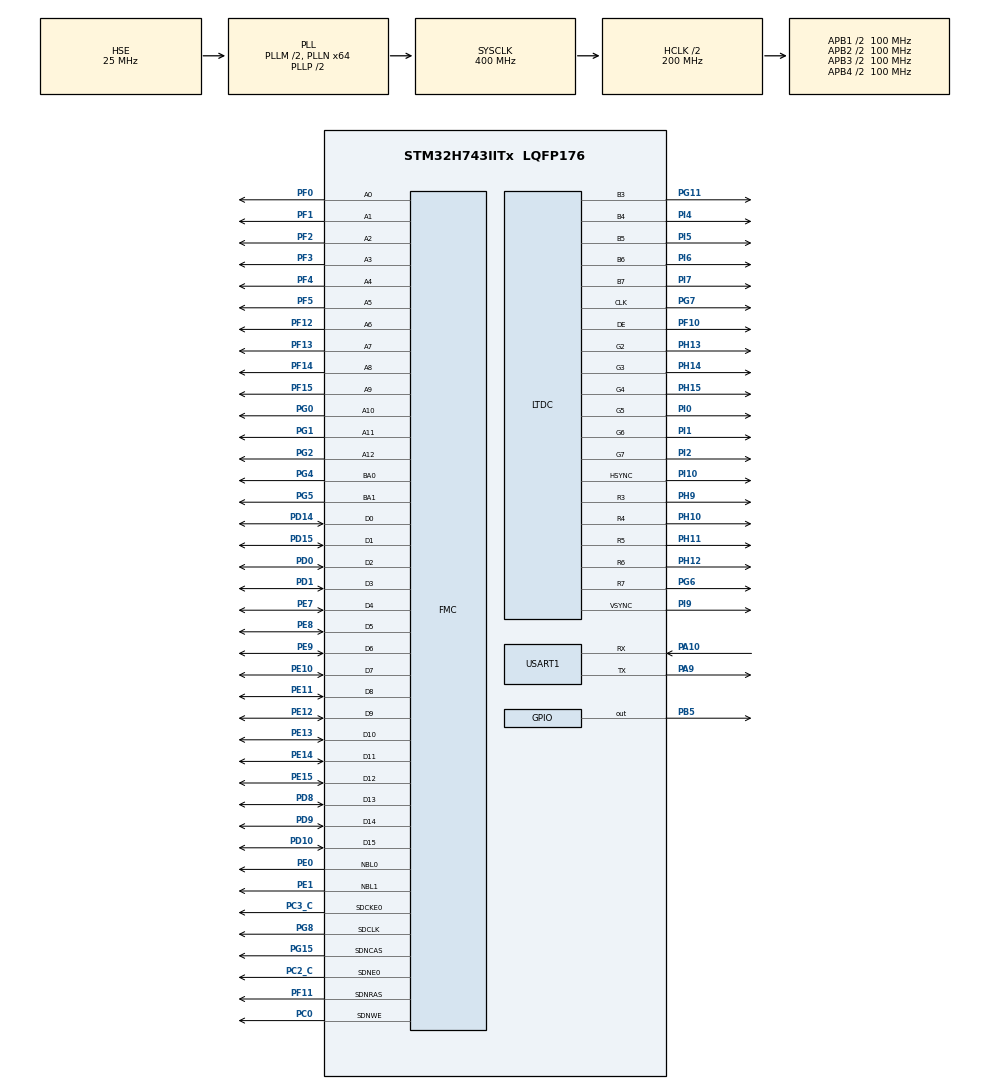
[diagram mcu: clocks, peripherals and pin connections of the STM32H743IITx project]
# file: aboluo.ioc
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CORTEX_M7.default_mode_Activation=1
FMC.BankMapConfig=FMC_SWAPBMAP_DISABLE
FMC.CASLatency1=FMC_SDRAM_CAS_LATENCY_3
FMC.ColumnBitsNumber1=FMC_SDRAM_COLUMN_BITS_NUM_9
FMC.ReadBurst1=FMC_SDRAM_RBURST_ENABLE
FMC.ReadBurst2=FMC_SDRAM_RBURST_ENABLE
FMC.ReadPipeDelay1=FMC_SDRAM_RPIPE_DELAY_1
FMC.ReadPipeDelay2=FMC_SDRAM_RPIPE_DELAY_1
FMC.SDClockPeriod1=FMC_SDRAM_CLOCK_PERIOD_2
FMC.SDClockPeriod2=FMC_SDRAM_CLOCK_PERIOD_2
LTDC.ActiveH=272
LTDC.ActiveW=480
LTDC.DEPolarity=LTDC_DEPOLARITY_AH
LTDC.FBStartAdress_L0=0x24000000
LTDC.HBP=43
LTDC.HFP=8
LTDC.HSync=4
LTDC.ImageHeight_L0=160
LTDC.ImageWidth_L0=240
LTDC.Layers=0
LTDC.PCPolarity=LTDC_PCPOLARITY_IPC
LTDC.PixelFormat_L0=LTDC_PIXEL_FORMAT_RGB565
LTDC.VBP=12
LTDC.VFP=8
Mcu.Family=STM32H7
Mcu.Name=STM32H743IITx
Mcu.Package=LQFP176
NVIC.PriorityGroup=NVIC_PRIORITYGROUP_4
PA10.Mode=Asynchronous
PA10.Signal=USART1_RX
PA9.Mode=Asynchronous
PA9.Signal=USART1_TX
PB5.Signal=GPIO_Output
PC0.Signal=FMC_SDNWE
PC2_C.Mode=SdramChipSelect1_1
PC2_C.Signal=FMC_SDNE0
PC3_C.Mode=SdramChipSelect1_1
PC3_C.Signal=FMC_SDCKE0
PD0.Signal=FMC_D2_DA2
PD1.Signal=FMC_D3_DA3
PD10.Signal=FMC_D15_DA15
PD14.Signal=FMC_D0_DA0
PD15.Signal=FMC_D1_DA1
PD8.Signal=FMC_D13_DA13
PD9.Signal=FMC_D14_DA14
PE0.Signal=FMC_NBL0
PE1.Signal=FMC_NBL1
PE10.Signal=FMC_D7_DA7
PE11.Signal=FMC_D8_DA8
PE12.Signal=FMC_D9_DA9
PE13.Signal=FMC_D10_DA10
PE14.Signal=FMC_D11_DA11
PE15.Signal=FMC_D12_DA12
PE7.Signal=FMC_D4_DA4
PE8.Signal=FMC_D5_DA5
PE9.Signal=FMC_D6_DA6
PF0.Signal=FMC_A0
PF1.Signal=FMC_A1
PF10.Mode=RGB565
PF10.Signal=LTDC_DE
PF11.Signal=FMC_SDNRAS
PF12.Signal=FMC_A6
PF13.Signal=FMC_A7
PF14.Signal=FMC_A8
PF15.Signal=FMC_A9
PF2.Signal=FMC_A2
PF3.Signal=FMC_A3
PF4.Signal=FMC_A4
PF5.Signal=FMC_A5
PG0.Signal=FMC_A10
PG1.Signal=FMC_A11
PG11.Mode=RGB565
PG11.Signal=LTDC_B3
PG15.Signal=FMC_SDNCAS
PG2.Signal=FMC_A12
PG4.Signal=FMC_A14_BA0
PG5.Signal=FMC_A15_BA1
PG6.Mode=RGB565
PG6.Signal=LTDC_R7
PG7.Mode=RGB565
PG7.Signal=LTDC_CLK
PG8.Signal=FMC_SDCLK
PH0-OSC_IN\ (PH0).Mode=HSE-External-Oscillator
PH0-OSC_IN\ (PH0).Signal=RCC_OSC_IN
PH1-OSC_OUT\ (PH1).Mode=HSE-External-Oscillator
PH1-OSC_OUT\ (PH1).Signal=RCC_OSC_OUT
PH10.Mode=RGB565
PH10.Signal=LTDC_R4
PH11.Mode=RGB565
PH11.Signal=LTDC_R5
PH12.Mode=RGB565
PH12.Signal=LTDC_R6
PH13.Mode=RGB565
PH13.Signal=LTDC_G2
PH14.Mode=RGB565
PH14.Signal=LTDC_G3
PH15.Mode=RGB565
PH15.Signal=LTDC_G4
PH9.Mode=RGB565
PH9.Signal=LTDC_R3
PI0.Mode=RGB565
PI0.Signal=LTDC_G5
PI1.Mode=RGB565
PI1.Signal=LTDC_G6
PI10.Mode=RGB565
PI10.Signal=LTDC_HSYNC
PI2.Mode=RGB565
PI2.Signal=LTDC_G7
PI4.Mode=RGB565
PI4.Signal=LTDC_B4
PI5.Mode=RGB565
PI5.Signal=LTDC_B5
PI6.Mode=RGB565
PI6.Signal=LTDC_B6
PI7.Mode=RGB565
PI7.Signal=LTDC_B7
PI9.Mode=RGB565
PI9.Signal=LTDC_VSYNC
ProjectManager.HeapSize=0x200
ProjectManager.StackSize=0x400
ProjectManager.TargetToolchain=STM32CubeIDE
RCC.ADCFreq_Value=50390625
RCC.APB1Freq_Value=100000000
RCC.APB2Freq_Value=100000000
RCC.APB3Freq_Value=100000000
RCC.APB4Freq_Value=100000000
RCC.CortexFreq_Value=400000000
RCC.D1PPRE=RCC_APB3_DIV2
RCC.D2PPRE1=RCC_APB1_DIV2
RCC.D2PPRE2=RCC_APB2_DIV2
RCC.D3PPRE=RCC_APB4_DIV2
RCC.DIVM1=2
RCC.DIVM3=25
RCC.DIVN1=64
RCC.DIVN3=160
RCC.DIVR3=16
RCC.HCLKFreq_Value=200000000
RCC.HPRE=RCC_HCLK_DIV2
RCC.HSE_VALUE=25000000
RCC.PLL2FRACN=0
RCC.PLL3FRACN=0
RCC.PLLFRACN=0
RCC.PLLSourceVirtual=RCC_PLLSOURCE_HSE
RCC.SYSCLKFreq_VALUE=400000000
RCC.SYSCLKSource=RCC_SYSCLKSOURCE_PLLCLK
RCC.USBFreq_Value=400000000
SH.FMC_A0.0=FMC_A0,13b-sda1
SH.FMC_A1.0=FMC_A1,13b-sda1
SH.FMC_A10.0=FMC_A10,13b-sda1
SH.FMC_A11.0=FMC_A11,13b-sda1
SH.FMC_A12.0=FMC_A12,13b-sda1
SH.FMC_A14_BA0.0=FMC_BA0,FourSdramBanks1
SH.FMC_A15_BA1.0=FMC_BA1,FourSdramBanks1
SH.FMC_A2.0=FMC_A2,13b-sda1
SH.FMC_A3.0=FMC_A3,13b-sda1
SH.FMC_A4.0=FMC_A4,13b-sda1
SH.FMC_A5.0=FMC_A5,13b-sda1
SH.FMC_A6.0=FMC_A6,13b-sda1
SH.FMC_A7.0=FMC_A7,13b-sda1
SH.FMC_A8.0=FMC_A8,13b-sda1
SH.FMC_A9.0=FMC_A9,13b-sda1
SH.FMC_D0_DA0.0=FMC_D0,sd-16b-d1
SH.FMC_D10_DA10.0=FMC_D10,sd-16b-d1
SH.FMC_D11_DA11.0=FMC_D11,sd-16b-d1
SH.FMC_D12_DA12.0=FMC_D12,sd-16b-d1
SH.FMC_D13_DA13.0=FMC_D13,sd-16b-d1
SH.FMC_D14_DA14.0=FMC_D14,sd-16b-d1
SH.FMC_D15_DA15.0=FMC_D15,sd-16b-d1
SH.FMC_D1_DA1.0=FMC_D1,sd-16b-d1
SH.FMC_D2_DA2.0=FMC_D2,sd-16b-d1
SH.FMC_D3_DA3.0=FMC_D3,sd-16b-d1
SH.FMC_D4_DA4.0=FMC_D4,sd-16b-d1
SH.FMC_D5_DA5.0=FMC_D5,sd-16b-d1
SH.FMC_D6_DA6.0=FMC_D6,sd-16b-d1
SH.FMC_D7_DA7.0=FMC_D7,sd-16b-d1
SH.FMC_D8_DA8.0=FMC_D8,sd-16b-d1
SH.FMC_D9_DA9.0=FMC_D9,sd-16b-d1
SH.FMC_NBL0.0=FMC_NBL0,Sd2ByteEnable1
SH.FMC_NBL1.0=FMC_NBL1,Sd2ByteEnable1
SH.FMC_SDCLK.0=FMC_SDCLK,13b-sda1
SH.FMC_SDNCAS.0=FMC_SDNCAS,13b-sda1
SH.FMC_SDNRAS.0=FMC_SDNRAS,13b-sda1
SH.FMC_SDNWE.0=FMC_SDNWE,13b-sda1
USART1.VirtualMode-Asynchronous=VM_ASYNC
VP_MEMORYMAP_VS_MEMORYMAP.Mode=CurAppReg
board=custom

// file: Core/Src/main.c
/* USER CODE BEGIN Header */
/**
  ******************************************************************************
  * @file           : main.c
  * @brief          : Main program body
  ******************************************************************************
  * @attention
  *
  * Copyright (c) 2025 STMicroelectronics.
  * All rights reserved.
  *
  * This software is licensed under terms that can be found in the LICENSE file
  * in the root directory of this software component.
  * If no LICENSE file comes with this software, it is provided AS-IS.
  *
  ******************************************************************************
  */
/* USER CODE END Header */
#include "main.h"
#include "ltdc.h"
#include "usart.h"
#include "gpio.h"
#include "fmc.h"
#include "bsp_fmc_sdram.h"

/* USER CODE BEGIN Includes */
#include <stdio.h>
#include <string.h>

/* FMC寄存器直接访问 */
#define FMC_Bank5_6         ((FMC_Bank5_6_TypeDef *)FMC_Bank5_6_R_BASE)

/* USER CODE END Includes */

void SystemClock_Config(void);
static void MPU_Config(void);
/* USER CODE BEGIN PFP */
extern void MX_FMC_Init(void);  // 临时声明，用于A/B测试
/* USER CODE END PFP */

/* USER CODE BEGIN 0 */
#include <stdint.h>

#if 0  /* 未使用的颜色定义和Cache函数 */
#define RGB565(r,g,b) ( (uint16_t)((((r)&0xF8)<<8)|(((g)&0xFC)<<3)|((b)>>3)) )

static const uint16_t kColorBars[8] = {
  RGB565(255,0,0), RGB565(255,128,0), RGB565(255,255,0), RGB565(0,255,0),
  RGB565(0,255,255), RGB565(0,0,255), RGB565(128,0,255), RGB565(255,255,255)
};

static void dcache_clean_region(void *addr, size_t len){
  uintptr_t a = ((uintptr_t)addr) & ~31UL;
  size_t    s = ((uintptr_t)addr + len - a + 31UL) & ~31UL;
  SCB_CleanDCache_by_Addr((uint32_t*)a, (int32_t)s);
}
#endif

/* USER CODE END 0 */

int main(void)
{

  /* MPU Configuration--------------------------------------------------------*/
  // MPU_Config();  // 暂时禁用MPU，避免屏蔽SDRAM 0xC0000000访问

  /* MCU Configuration--------------------------------------------------------*/

  /* Reset of all peripherals, Initializes the Flash interface and the Systick. */
  HAL_Init();

  /* USER CODE BEGIN Init */

  /* 启用Bus/MemFault异常，避免错误被HardFault掩盖 */
  SCB->SHCSR |= SCB_SHCSR_BUSFAULTENA_Msk | SCB_SHCSR_MEMFAULTENA_Msk;

  /* USER CODE END Init */

  /* Configure the system clock */
  SystemClock_Config();

  /* Initialize all configured peripherals */
  MX_GPIO_Init();
  MX_LTDC_Init();
  MX_USART1_UART_Init();
  // MX_FMC_Init();  // 注释掉：使用BSP模块代替
  /* USER CODE BEGIN 2 */

  /* 记录启动时间 */
  uint32_t boot_start = HAL_GetTick();

  /* SDRAM初始化 */
  SDRAM_GPIO_Init();
  int init_result = SDRAM_Controller_Init();
  if (init_result != 0) {
    printf("SDRAM Init Failed: %d\r\n", init_result);
    Error_Handler();
  }

  /* 健康检查打印 */
  SDRAM_Print_MinimalHealth();

  /* Boot时间 */
  printf("Boot: %lu ms\r\n", HAL_GetTick() - boot_start);

  /* USER CODE END 2 */

  /* Infinite loop */
  while (1)
  {

  }
}

void SystemClock_Config(void)
{
  RCC_OscInitTypeDef RCC_OscInitStruct = {0};
  RCC_ClkInitTypeDef RCC_ClkInitStruct = {0};

  /** Supply configuration update enable
  */
  HAL_PWREx_ConfigSupply(PWR_LDO_SUPPLY);

  /** Configure the main internal regulator output voltage
  */
  __HAL_PWR_VOLTAGESCALING_CONFIG(PWR_REGULATOR_VOLTAGE_SCALE1);

  while(!__HAL_PWR_GET_FLAG(PWR_FLAG_VOSRDY)) {}

  /** Initializes the RCC Oscillators according to the specified parameters
  * in the RCC_OscInitTypeDef structure.
  */
  RCC_OscInitStruct.OscillatorType = RCC_OSCILLATORTYPE_HSE;
  RCC_OscInitStruct.HSEState = RCC_HSE_ON;
  RCC_OscInitStruct.PLL.PLLState = RCC_PLL_ON;
  RCC_OscInitStruct.PLL.PLLSource = RCC_PLLSOURCE_HSE;
  RCC_OscInitStruct.PLL.PLLM = 2;
  RCC_OscInitStruct.PLL.PLLN = 64;
  RCC_OscInitStruct.PLL.PLLP = 2;
  RCC_OscInitStruct.PLL.PLLQ = 2;
  RCC_OscInitStruct.PLL.PLLR = 2;
  RCC_OscInitStruct.PLL.PLLRGE = RCC_PLL1VCIRANGE_3;
  RCC_OscInitStruct.PLL.PLLVCOSEL = RCC_PLL1VCOWIDE;
  RCC_OscInitStruct.PLL.PLLFRACN = 0;
  if (HAL_RCC_OscConfig(&RCC_OscInitStruct) != HAL_OK)
  {
    Error_Handler();
  }

  /** Initializes the CPU, AHB and APB buses clocks
  */
  RCC_ClkInitStruct.ClockType = RCC_CLOCKTYPE_HCLK|RCC_CLOCKTYPE_SYSCLK
                              |RCC_CLOCKTYPE_PCLK1|RCC_CLOCKTYPE_PCLK2
                              |RCC_CLOCKTYPE_D3PCLK1|RCC_CLOCKTYPE_D1PCLK1;
  RCC_ClkInitStruct.SYSCLKSource = RCC_SYSCLKSOURCE_PLLCLK;
  RCC_ClkInitStruct.SYSCLKDivider = RCC_SYSCLK_DIV1;
  RCC_ClkInitStruct.AHBCLKDivider = RCC_HCLK_DIV2;
  RCC_ClkInitStruct.APB3CLKDivider = RCC_APB3_DIV2;
  RCC_ClkInitStruct.APB1CLKDivider = RCC_APB1_DIV2;
  RCC_ClkInitStruct.APB2CLKDivider = RCC_APB2_DIV2;
  RCC_ClkInitStruct.APB4CLKDivider = RCC_APB4_DIV2;

  if (HAL_RCC_ClockConfig(&RCC_ClkInitStruct, FLASH_LATENCY_2) != HAL_OK)
  {
    Error_Handler();
  }
}

 /* MPU Configuration */

static void __attribute__((unused)) MPU_Config(void)
{
  MPU_Region_InitTypeDef MPU_InitStruct = {0};

  /* Disables the MPU */
  HAL_MPU_Disable();

  /** Initializes and configures the Region and the memory to be protected
  */
  MPU_InitStruct.Enable = MPU_REGION_ENABLE;
  MPU_InitStruct.Number = MPU_REGION_NUMBER0;
  MPU_InitStruct.BaseAddress = 0x0;
  MPU_InitStruct.Size = MPU_REGION_SIZE_4GB;
  MPU_InitStruct.SubRegionDisable = 0x87;
  MPU_InitStruct.TypeExtField = MPU_TEX_LEVEL0;
  MPU_InitStruct.AccessPermission = MPU_REGION_NO_ACCESS;
  MPU_InitStruct.DisableExec = MPU_INSTRUCTION_ACCESS_DISABLE;
  MPU_InitStruct.IsShareable = MPU_ACCESS_SHAREABLE;
  MPU_InitStruct.IsCacheable = MPU_ACCESS_NOT_CACHEABLE;
  MPU_InitStruct.IsBufferable = MPU_ACCESS_NOT_BUFFERABLE;

  HAL_MPU_ConfigRegion(&MPU_InitStruct);
  /* Enables the MPU */
  HAL_MPU_Enable(MPU_PRIVILEGED_DEFAULT);

}

void Error_Handler(void)
{
  __disable_irq();
  while (1)
  {
  }
}
